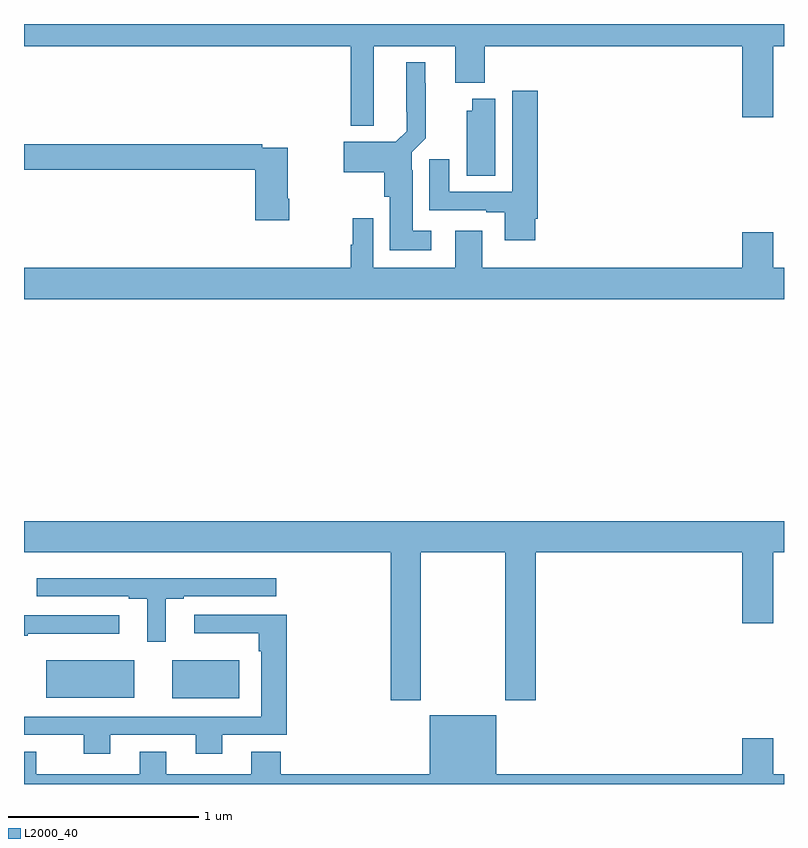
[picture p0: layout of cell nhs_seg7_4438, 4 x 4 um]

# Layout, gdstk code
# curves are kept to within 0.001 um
import gdstk
lib = gdstk.Library(unit=1e-6, precision=1e-09)
def R(c, l, rs):  # rectangles x0, y0, x1, y1
    for r in rs: c.add(gdstk.rectangle(r[:2], r[2:], *l))
def P(c, l, *ps):  # polygons
    for p in ps: c.add(gdstk.Polygon(p, *l))
L2000_40 = (2000, 40)

nhs_seg7_4438 = lib.new_cell('nhs_seg7_4438')
R(nhs_seg7_4438, L2000_40, [(389.78,1062.452,390.133,1062.652), (389.117,1062.455,389.581,1062.652)])
P(nhs_seg7_4438, L2000_40, [(389,1065.884),(390.719,1065.884),(390.719,1065.464),(390.841,1065.464),(390.841,1065.884),(391.271,1065.884),(391.271,1065.692),(391.424,1065.692),(391.424,1065.884),(392.78,1065.884),(392.78,1065.51),(392.944,1065.51),(392.944,1065.884),(393,1065.884),(393,1066),(389,1066)],
  [(391.144,1064.911),(391.045,1064.911),(391.045,1065.23),(391.041,1065.23),(391.041,1065.324),(391.115,1065.398),(391.115,1065.689),(391.111,1065.689),(391.111,1065.799),(391.013,1065.799),(391.014,1065.436),(390.957,1065.379),(390.684,1065.379),(390.684,1065.221),(390.896,1065.221),(390.896,1065.09),(390.926,1065.09),(390.926,1064.81),(391.144,1064.81)],
  [(391.69,1064.974),(391.703,1064.974),(391.703,1065.649),(391.571,1065.649),(391.571,1065.117),(391.237,1065.117),(391.237,1065.289),(391.133,1065.289),(391.133,1065.021),(391.433,1065.021),(391.433,1065.009),(391.529,1065.009),(391.529,1064.862),(391.69,1064.862)],
  [(391.48,1065.607),(391.358,1065.607),(391.358,1065.543),(391.331,1065.543),(391.331,1065.202),(391.48,1065.202)],
  [(390.396,1065.079),(390.388,1065.079),(390.388,1065.348),(390.254,1065.348),(390.254,1065.368),(389,1065.368),(389,1065.232),(390.218,1065.232),(390.218,1064.967),(390.396,1064.967)],
  [(391.271,1064.911),(391.271,1064.716),(390.837,1064.716),(390.837,1064.977),(390.729,1064.977),(390.729,1064.838),(390.721,1064.838),(390.721,1064.716),(389,1064.716),(389,1064.552),(393,1064.552),(393,1064.716),(392.944,1064.716),(392.944,1064.905),(392.78,1064.905),(392.78,1064.716),(391.411,1064.716),(391.411,1064.911)],
  [(391.089,1063.22),(391.534,1063.22),(391.534,1062.441),(391.694,1062.441),(391.694,1063.22),(392.78,1063.22),(392.78,1062.846),(392.944,1062.846),(392.944,1063.22),(393,1063.22),(393,1063.384),(389,1063.384),(389,1063.22),(390.929,1063.22),(390.929,1062.441),(391.089,1062.441)],
  [(389.746,1062.975),(389.842,1062.975),(389.842,1062.987),(390.328,1062.987),(390.328,1063.084),(389.067,1063.084),(389.067,1062.987),(389.552,1062.987),(389.552,1062.975),(389.648,1062.975),(389.648,1062.75),(389.746,1062.75)],
  [(389.455,1062.258),(389.903,1062.258),(389.903,1062.158),(390.043,1062.158),(390.043,1062.258),(390.383,1062.258),(390.383,1062.891),(389.895,1062.891),(389.895,1062.794),(390.236,1062.794),(390.236,1062.698),(390.248,1062.698),(390.248,1062.354),(389,1062.354),(389,1062.258),(389.315,1062.258),(389.315,1062.158),(389.455,1062.158)],
  [(389.021,1062.791),(389.5,1062.791),(389.5,1062.888),(389,1062.888),(389,1062.78),(389.021,1062.78)],
  [(393,1062.052),(392.944,1062.052),(392.944,1062.241),(392.78,1062.241),(392.78,1062.052),(391.486,1062.052),(391.486,1062.361),(391.136,1062.361),(391.136,1062.052),(390.35,1062.052),(390.35,1062.169),(390.197,1062.169),(390.197,1062.052),(389.749,1062.052),(389.749,1062.169),(389.609,1062.169),(389.609,1062.052),(389.065,1062.052),(389.065,1062.169),(389,1062.169),(389,1062),(393,1062)])

lib.write_gds('nhs_seg7_4438.gds')
